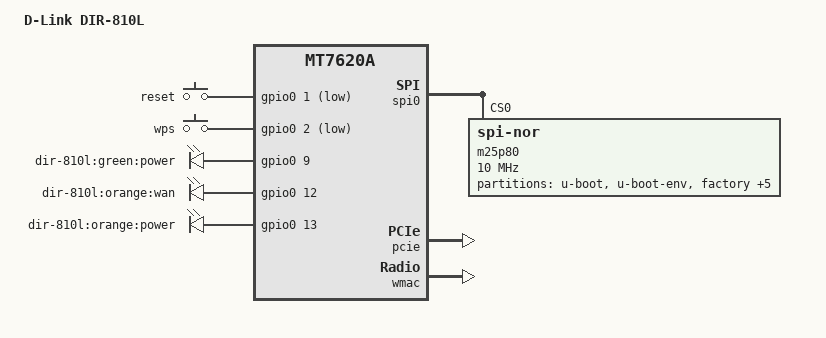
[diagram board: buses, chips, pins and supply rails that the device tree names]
/dts-v1/;

#include "mt7620a.dtsi"

/ {
	compatible = "dlink,dir-810l", "ralink,mt7620a-soc";
	model = "D-Link DIR-810L";

	gpio-keys-polled {
		compatible = "gpio-keys-polled";
		#address-cells = <1>;
		#size-cells = <0>;
		poll-interval = <20>;

		reset {
			label = "reset";
			gpios = <&gpio0 1 1>;
			linux,code = <0x100>;
		};

		wps {
			label = "wps";
			gpios = <&gpio0 2 1>;
			linux,code = <0x100>;
		};
	};

	gpio-leds {
		compatible = "gpio-leds";

		power {
			label = "dir-810l:green:power";
			gpios = <&gpio0 9 0>;
		};

		wan {
			label = "dir-810l:orange:wan";
			gpios = <&gpio0 12 0>;
		};

		status {
			label = "dir-810l:orange:power";
			gpios = <&gpio0 13 0>;
		};
	};
};

&spi0 {
	status = "okay";

	m25p80@0 {
		#address-cells = <1>;
		#size-cells = <1>;
		compatible = "jedec,spi-nor";
		reg = <0>;
		linux,modalias = "m25p80";
		spi-max-frequency = <10000000>;

		partition@0 {
			label = "u-boot";
			reg = <0x0 0x30000>;
			read-only;
		};

		partition@30000 {
			label = "u-boot-env";
			reg = <0x30000 0x10000>;
			read-only;
		};

		factory: partition@40000 {
			label = "factory";
			reg = <0x40000 0x10000>;
			read-only;
		};

		factory5g: partition@50000 {
			label = "factory5g";
			reg = <0x50000 0x10000>;
			read-only;
		};

		partition@60000 {
			label = "Wolf_Config";
			reg = <0x60000 0x10000>;
			read-only;
		};

		partition@70000 {
			label = "MyDlink";
			reg = <0x70000 0x80000>;
			read-only;
		};

		partition@e0000 {
			label = "Jffs2";
			reg = <0xe0000 0x80000>;
			read-only;
		};

		partition@170000 {
			label = "firmware";
			reg = <0x170000 0x690000>;
		};
	};
};

&pinctrl {
	state_default: pinctrl0 {
		gpio {
			ralink,group = "mdio", "rgmii1", "i2c", "wled", "uartf";
			ralink,function = "gpio";
		};
	};
};

&ethernet {
	mtd-mac-address = <&factory 0x28>;
	mediatek,portmap = "llllw";
};

&gsw {
	mediatek,port4 = "ephy";
	pinctrl-names = "default";
	pinctrl-0 = <&ephy_pins>;
};

&pcie {
	status = "okay";
};

&wmac {
	ralink,mtd-eeprom = <&factory 0>;
};
